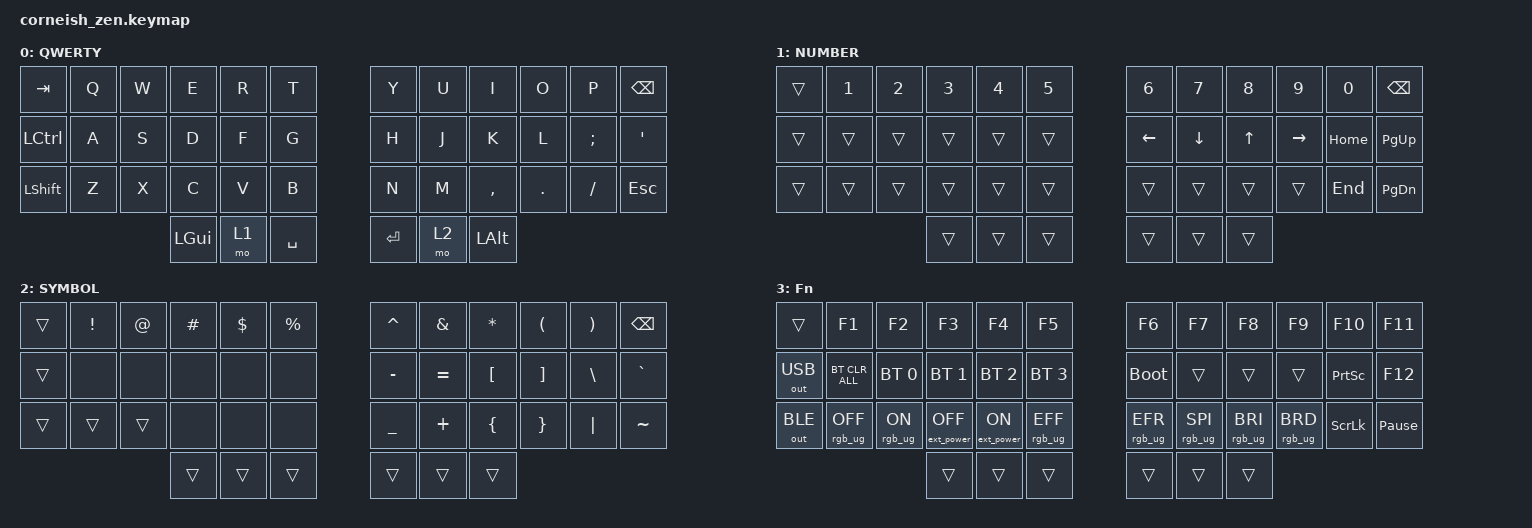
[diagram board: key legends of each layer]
/*
 * Copyright (c) 2020 The ZMK Contributors
 *
 * SPDX-License-Identifier: MIT
 */

#include <behaviors.dtsi>
#include <dt-bindings/zmk/bt.h>
#include <dt-bindings/zmk/ext_power.h>
#include <dt-bindings/zmk/keys.h>
#include <dt-bindings/zmk/outputs.h>
#include <dt-bindings/zmk/rgb.h>

/ {
    chosen {
        zmk,matrix_transform = &default_transform;

        // zmk,matrix_transform = &five_column_transform;
    };
};

/ {
    keymap {
        compatible = "zmk,keymap";

        default_layer {
            display-name = "QWERTY";

            // --------------------------------------------------------------------------------
            // |  TAB |  Q  |  W  |  E  |  R  |  T  |   |  Y  |  U   |  I  |  O  |  P  | BKSP |
            // | CTRL |  A  |  S  |  D  |  F  |  G  |   |  H  |  J   |  K  |  L  |  ;  |  '   | 
            // | SHFT |  Z  |  X  |  C  |  V  |  B  |   |  N  |  M   |  ,  |  .  |  /  | ESC  |
            //                    | GUI | LWR | SPC |   | ENT | RSE  | ALT |

            bindings = <
&kp TAB         &kp Q  &kp W  &kp E     &kp R  &kp T        &kp Y      &kp U  &kp I         &kp O    &kp P     &kp BSPC
&kp LCTRL       &kp A  &kp S  &kp D     &kp F  &kp G        &kp H      &kp J  &kp K         &kp L    &kp SEMI  &kp SQT
&kp LEFT_SHIFT  &kp Z  &kp X  &kp C     &kp V  &kp B        &kp N      &kp M  &kp COMMA     &kp DOT  &kp FSLH  &kp ESC
                              &kp LGUI  &mo 1  &kp SPACE    &kp ENTER  &mo 2  &kp LEFT_ALT
            >;
        };

        lower_layer {
            display-name = "NUMBER";

            // -----------------------------------------------------------------------------------------
            // |  TAB |  1  |  2  |  3  |  4  |  5  |   |  6  |  7  |  8  |  9  |  0  | BKSP |
            // | BTCLR| BT1 | BT2 | BT3 | BT4 | BT5 |   | LFT | DWN |  UP | RGT |     |      |
            // | SHFT |     |     |     |     |     |   |     |     |     |     |     |      |
            //                    | GUI |     | SPC |   | ENT |     | ALT |

            bindings = <
&trans  &kp N1  &kp N2  &kp N3  &kp N4  &kp N5    &kp N6    &kp N7    &kp N8  &kp N9     &kp N0    &kp BSPC
&trans  &trans  &trans  &trans  &trans  &trans    &kp LEFT  &kp DOWN  &kp UP  &kp RIGHT  &kp HOME  &kp PG_UP
&trans  &trans  &trans  &trans  &trans  &trans    &trans    &trans    &trans  &trans     &kp END   &kp PG_DN
                        &trans  &trans  &trans    &trans    &trans    &trans
            >;
        };

        raise_layer {
            display-name = "SYMBOL";

            // -----------------------------------------------------------------------------------------
            // |  TAB |  !  |  @  |  #  |  $  |  %  |   |  ^  |  &  |  *  |  (  |  )  | BKSP |
            // | CTRL |     |     |     |     |     |   |  -  |  =  |  [  |  ]  |  \  |  `   |
            // | SHFT |     |     |     |     |     |   |  _  |  +  |  {  |  }  | "|" |  ~   |
            //                    | GUI |     | SPC |   | ENT |     | ALT |

            bindings = <
&trans  &kp EXCL  &kp AT  &kp HASH  &kp DLLR  &kp PRCNT    &kp CARET  &kp AMPS   &kp ASTRK  &kp LPAR  &kp RPAR  &kp BSPC
&trans  &none     &none   &none     &none     &none        &kp MINUS  &kp EQUAL  &kp LBKT   &kp RBKT  &kp BSLH  &kp GRAVE
&trans  &trans    &trans  &none     &none     &none        &kp UNDER  &kp PLUS   &kp LBRC   &kp RBRC  &kp PIPE  &kp TILDE
                          &trans    &trans    &trans       &trans     &trans     &trans
            >;
        };

        layer_3 {
            display-name = "Fn";
            bindings = <
&trans        &kp F1           &kp F2          &kp F3             &kp F4            &kp F5             &kp F6           &kp F7           &kp F8           &kp F9           &kp F10          &kp F11
&out OUT_USB  &bt BT_CLR_ALL   &bt BT_SEL 0    &bt BT_SEL 1       &bt BT_SEL 2      &bt BT_SEL 3       &bootloader      &trans           &trans           &trans           &kp PRINTSCREEN  &kp F12
&out OUT_BLE  &rgb_ug RGB_OFF  &rgb_ug RGB_ON  &ext_power EP_OFF  &ext_power EP_ON  &rgb_ug RGB_EFF    &rgb_ug RGB_EFR  &rgb_ug RGB_SPI  &rgb_ug RGB_BRI  &rgb_ug RGB_BRD  &kp SCROLLLOCK   &kp PAUSE_BREAK
                                               &trans             &trans            &trans             &trans           &trans           &trans
            >;
        };
    };

    conditional_layers {
        compatible = "zmk,conditional-layers";

        layer3 {
            if-layers = <1 2>;
            then-layer = <3>;
        };
    };
};
